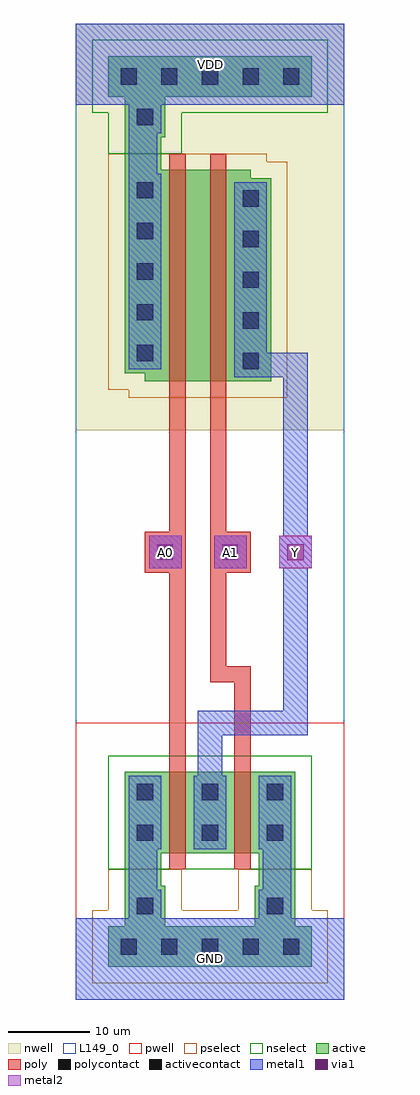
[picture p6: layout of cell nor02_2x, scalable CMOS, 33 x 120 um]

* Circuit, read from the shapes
.subckt nor02_2x A0 A1 GND VDD Y
M1 Y A0 GND GND nfet w=10u l=2u
M2 GND A1 Y GND nfet w=10u l=2u
M3 n1 A0 VDD VDD pfet w=26u l=2u
M4 Y A1 n1 VDD pfet w=26u l=2u
.ends

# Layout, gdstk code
import gdstk
lib = gdstk.Library(unit=1e-6, precision=1e-09)
def R(c, l, rs):  # rectangles x0, y0, x1, y1
    for r in rs: c.add(gdstk.rectangle(r[:2], r[2:], *l))
def A(c, l, x, y, w, h, nx, ny, dx, dy):  # array of equal rectangles
    R(c, l, [(x+i*dx, y+j*dy, x+i*dx+w, y+j*dy+h) for i in range(nx) for j in range(ny)])
def P(c, l, *ps):  # polygons
    for p in ps: c.add(gdstk.Polygon(p, *l))
pwell = (41, 0)
nwell = (42, 0)
active = (43, 0)
pselect = (44, 0)
nselect = (45, 0)
poly = (46, 0)
polycontact = (47, 0)
activecontact = (48, 0)
metal1 = (49, 0)
via1 = (50, 0)
metal2 = (51, 0)
L149_0 = (149, 0)

via = lib.new_cell('via')
R(via, metal1, [(-2,-2,2,2)])
R(via, via1, [(-1,-1,1,1)])
R(via, metal2, [(-2,-2,2,2)])

nor02_2x = lib.new_cell('nor02_2x')
R(nor02_2x, pwell, [(0,0,33,34), (0,12,33,34)])
R(nor02_2x, nwell, [(0,70,33,120)])
P(nor02_2x, nwell, [(30,70),(30,107),(27.5,107),(27.5,108),(0,108),(0,71),(2.5,71),(2.5,70)])
R(nor02_2x, active, [(4,4,29,9), (6,9,11,14), (22,9,27,14), (6,14,10.5,18), (22.5,14,27,18), (6,18,11.5,28), (6,18,27,28), (21.5,18,27,28), (6,102,10.5,106), (6,106,11,111), (4,111,29,116)])
P(nor02_2x, active, [(11.5,76),(11.5,102),(6,102),(6,77),(8.5,77),(8.5,76)],
  [(24,76),(24,101),(21.5,101),(21.5,102),(6,102),(6,77),(8.5,77),(8.5,76)],
  [(24,76),(24,101),(21.5,101),(21.5,102),(18.5,102),(18.5,76)])
R(nor02_2x, pselect, [(2,2,31,11), (4,11,13,16), (20,11,29,16)])
P(nor02_2x, pselect, [(26,74),(26,103),(23.5,103),(23.5,104),(4,104),(4,75),(6.5,75),(6.5,74)])
R(nor02_2x, nselect, [(4,16,29,30), (4,104,13,109), (2,109,31,118)])
R(nor02_2x, poly, [(11.5,16,13.5,18), (19.5,16,21.5,18), (11.5,18,13.5,28), (19.5,18,21.5,28), (11.5,28,13.5,30), (19.5,28,21.5,30), (8.5,52.5,13.5,57.5), (16.5,52.5,21.5,57.5), (11.5,74,13.5,76), (16.5,74,18.5,76), (11.5,76,13.5,102), (16.5,76,18.5,102), (11.5,102,13.5,104), (16.5,102,18.5,104)])
R(nor02_2x, polycontact, [(10,54,12,56), (18,54,20,56)])
A(nor02_2x, activecontact, 5.5, 5.5, 2, 2, 5, 2, 5, 107)
A(nor02_2x, activecontact, 7.5, 19.5, 2, 2, 3, 2, 8, 5)
A(nor02_2x, activecontact, 20.5, 77.5, 2, 2, 1, 5, 0, 5)
A(nor02_2x, activecontact, 7.5, 78.5, 2, 2, 1, 5, 0, 5)
R(nor02_2x, activecontact, [(7.5,10.5,9.5,12.5), (23.5,10.5,25.5,12.5), (7.5,107.5,9.5,109.5)])
A(nor02_2x, metal1, 6.5, 18.5, 4, 9, 3, 1, 8, 0)
R(nor02_2x, metal1, [(0,0,33,10), (6.5,10,10.5,13.5), (22.5,10,26.5,13.5), (6.5,13.5,10,18.5), (23,13.5,26.5,18.5), (9,53,13,57), (17,53,21,57), (19.5,76.5,23.5,100.5), (6.5,77.5,10.5,101.5), (6.5,101.5,10,106.5), (6.5,106.5,10.5,110), (0,110,33,120)])
A(nor02_2x, metal2, 9, 53, 4, 4, 3, 1, 8, 0)
R(nor02_2x, L149_0, [(0,0,33,120)])
nor02_2x.add(gdstk.FlexPath([(20.5,30),(20.5,40),(17.5,40),(17.5,74)], 2, ends="flush", simple_path=True, layer=46, datatype=0))  # poly
nor02_2x.add(gdstk.FlexPath([(12.5,74),(12.5,30)], 2, ends="flush", simple_path=True, layer=46, datatype=0))  # poly
nor02_2x.add(gdstk.FlexPath([(16.5,27.5),(16.5,34),(27,34),(27,53)], 3, ends="flush", simple_path=True, layer=49, datatype=0))  # metal1
nor02_2x.add(gdstk.FlexPath([(27,57),(27,78),(23.5,78)], 3, ends="flush", simple_path=True, layer=49, datatype=0))  # metal1
nor02_2x.add(gdstk.Reference(via, (19,55)))
nor02_2x.add(gdstk.Reference(via, (27,55)))
nor02_2x.add(gdstk.Reference(via, (11,55)))
nor02_2x.add(gdstk.Label('A0', (11,55), layer=3, texttype=0))
nor02_2x.add(gdstk.Label('Y', (27,55), layer=3, texttype=0))
nor02_2x.add(gdstk.Label('A1', (19,55), layer=3, texttype=0))
nor02_2x.add(gdstk.Label('GND', (16.5,5), layer=2, texttype=0))
nor02_2x.add(gdstk.Label('VDD', (16.5,115), layer=2, texttype=0))

lib.write_gds('nor02_2x.gds')
